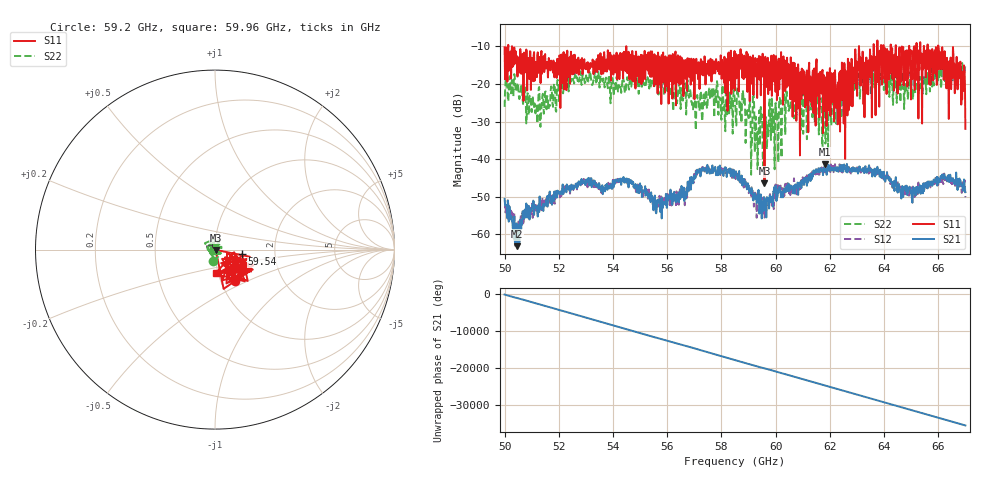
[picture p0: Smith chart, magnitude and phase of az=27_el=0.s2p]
!Created with skrf (http://scikit-rf.org).
# GHz S RI R 50.0
!freq ReS11 ImS11 ReS21 ImS21 ReS12 ImS12 ReS22 ImS22
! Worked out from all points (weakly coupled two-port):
!   1001 points, 50 GHz to 67 GHz, reference 50 ohm
!   highest |S21| = -41.27 dB at 61.81 GHz (marker M1); lowest = -63.2 dB at 50.46 GHz (marker M2)
!   lowest |S11| = -46.4 dB at 59.59 GHz (marker M3), VSWR 1.01, Z = 50.4 - j0.173 ohm
!   |S11| at or under -10 dB: 50.27 GHz to 54.49 GHz (4.216 GHz wide, 8.05 % of centre); 54.49 GHz to 63.07 GHz (8.585 GHz wide, 14.6 % of centre); 66 GHz to end of sweep (the widest 3 of 18)
!   |S22| runs from -44.1 to -14.0 dB; largest |S21 - S12| = 0.0021
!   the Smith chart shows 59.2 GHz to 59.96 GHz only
!   S11 on the Smith chart (normalised r, x): 59.2 GHz: 1.17, -0.42; 59.54 GHz: 1.35, -0.07; 59.96 GHz: 0.98, -0.26
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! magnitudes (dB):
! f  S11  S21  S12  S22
! 50 GHz  -10.3  -50.6  -51.2  -26.1
! 50.46 GHz  -14.7  -63.2  -61.2  -20.8
! 51.27 GHz  -14.6  -54.1  -54.3  -20.8
! 52.84 GHz  -14.4  -45.3  -46.7  -20.3
! 54.42 GHz  -16.3  -46.3  -45.2  -21.5
! 55.68 GHz  -13.7  -51.0  -50.6  -22.8
! 57.23 GHz  -14.9  -44.6  -43.7  -21.9
! 58.5 GHz  -21.7  -44.2  -45.0  -25.7
! 59.2 GHz  -13.7  -49.4  -52.6  -23.6
! 59.54 GHz  -16.4  -53.9  -50.2  -41.7
! 59.59 GHz  -46.4  -53.5  -55.6  -27.9
! 59.96 GHz  -17.7  -48.9  -50.4  -42.7
! 60.64 GHz  -14.4  -49.1  -48.0  -23.5
! 61.34 GHz  -26.1  -45.3  -43.6  -27.1
! 61.81 GHz  -19.1  -41.3  -42.1  -25.4
! 62.55 GHz  -14.9  -42.1  -42.7  -20.4
! 63.01 GHz  -23.2  -43.1  -42.2  -19.3
! 64.18 GHz  -18.9  -44.7  -45.3  -19.3
! 65.08 GHz  -13.9  -47.4  -48.4  -22.4
! 66.08 GHz  -15.7  -44.6  -45.2  -16.0
! 66.75 GHz  -18.6  -45.6  -47.2  -17.7
! 67 GHz  -32.0  -48.8  -50.2  -15.1
